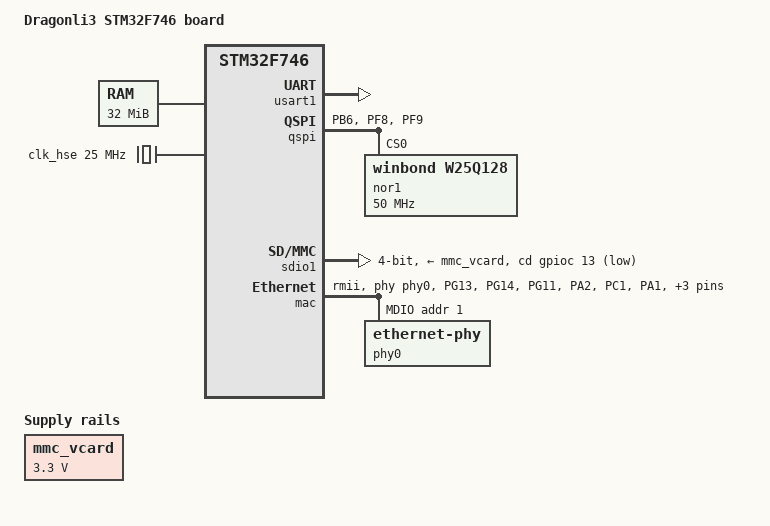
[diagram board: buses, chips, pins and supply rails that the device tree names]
/*
 * Copyright 2023 - JasonJ <jasonj@live.cn>
 *
 * This file is dual-licensed: you can use it either under the terms
 * of the GPL or the X11 license, at your option. Note that this dual
 * licensing only applies to this file, and not this project as a
 * whole.
 *
 *  a) This file is free software; you can redistribute it and/or
 *     modify it under the terms of the GNU General Public License as
 *     published by the Free Software Foundation; either version 2 of the
 *     License, or (at your option) any later version.
 *
 *     This file is distributed in the hope that it will be useful,
 *     but WITHOUT ANY WARRANTY; without even the implied warranty of
 *     MERCHANTABILITY or FITNESS FOR A PARTICULAR PURPOSE.  See the
 *     GNU General Public License for more details.
 *
 * Or, alternatively,
 *
 *  b) Permission is hereby granted, free of charge, to any person
 *     obtaining a copy of this software and associated documentation
 *     files (the "Software"), to deal in the Software without
 *     restriction, including without limitation the rights to use,
 *     copy, modify, merge, publish, distribute, sublicense, and/or
 *     sell copies of the Software, and to permit persons to whom the
 *     Software is furnished to do so, subject to the following
 *     conditions:
 *
 *     The above copyright notice and this permission notice shall be
 *     included in all copies or substantial portions of the Software.
 *
 *     THE SOFTWARE IS PROVIDED "AS IS", WITHOUT WARRANTY OF ANY KIND,
 *     EXPRESS OR IMPLIED, INCLUDING BUT NOT LIMITED TO THE WARRANTIES
 *     OF MERCHANTABILITY, FITNESS FOR A PARTICULAR PURPOSE AND
 *     NONINFRINGEMENT. IN NO EVENT SHALL THE AUTHORS OR COPYRIGHT
 *     HOLDERS BE LIABLE FOR ANY CLAIM, DAMAGES OR OTHER LIABILITY,
 *     WHETHER IN AN ACTION OF CONTRACT, TORT OR OTHERWISE, ARISING
 *     FROM, OUT OF OR IN CONNECTION WITH THE SOFTWARE OR THE USE OR
 *     OTHER DEALINGS IN THE SOFTWARE.
 */

/dts-v1/;
#include "stm32f746.dtsi"
#include "stm32f746-pinctrl.dtsi"
#include <dt-bindings/input/input.h>
#include <dt-bindings/gpio/gpio.h>

/ {
	model = "Dragonli3 STM32F746 board";
	compatible = "st, dragonli3", "st,stm32f746";

	chosen {
		bootargs = "console=ttyS0,115200 earlyprintk consoleblank=0 ignore_loglevel";
		stdout-path = "serial0:115200n8";
	};

	memory@c0000000 {
		device_type = "memory";
		reg = <0xC0000000 0x2000000>;
	};

	reserved-memory {
		#address-cells = <1>;
		#size-cells = <1>;
		ranges;

		linux,cma {
			compatible = "shared-dma-pool";
			no-map;
			size = <0x100000>;
			linux,dma-default;
		};
	};

	aliases {
		gpio0   = &gpioa;
		gpio1   = &gpiob;
		gpio2   = &gpioc;
		gpio3   = &gpiod;
		gpio4   = &gpioe;
		gpio5   = &gpiof;
		gpio6   = &gpiog;
		gpio7   = &gpioh;
		gpio8   = &gpioi;
		gpio9   = &gpioj;
		gpio10  = &gpiok;
		serial0 = &usart1;
		mmc0    = &sdio1;
		spi0    = &qspi;
	};

	mmc_vcard: mmc_vcard {
		compatible = "regulator-fixed";
		regulator-name = "mmc_vcard";
		regulator-min-microvolt = <3300000>;
		regulator-max-microvolt = <3300000>;
	};
};

&pinctrl {
	ethernet_mii: mii@0 {
		pins {
			pinmux = 
			     <STM32_PINMUX('G',13, AF11)>, /* ETH_RMII_TXD0 */
				 <STM32_PINMUX('G',14, AF11)>, /* ETH_RMII_TXD1 */
				 <STM32_PINMUX('G',11, AF11)>, /* ETH_RMII_TX_EN */
				 <STM32_PINMUX('A', 2, AF11)>, /* ETH_MDIO */
				 <STM32_PINMUX('C', 1, AF11)>, /* ETH_MDC */
				 <STM32_PINMUX('A', 1, AF11)>, /* ETH_RMII_REF_CLK */
				 <STM32_PINMUX('A', 7, AF11)>, /* ETH_RMII_CRS_DV */
				 <STM32_PINMUX('C', 4, AF11)>, /* ETH_RMII_RXD0 */
				 <STM32_PINMUX('C', 5, AF11)>; /* ETH_RMII_RXD1 */
			slew-rate = <2>;
		};
	};

	fmc_pins: fmc@0 {
		pins {
			pinmux = 
				 <STM32_PINMUX('D',10, AF12)>, /* D15 */
				 <STM32_PINMUX('D', 9, AF12)>, /* D14 */
				 <STM32_PINMUX('D', 8, AF12)>, /* D13 */
				 <STM32_PINMUX('E',15, AF12)>, /* D12 */
				 <STM32_PINMUX('E',14, AF12)>, /* D11 */
				 <STM32_PINMUX('E',13, AF12)>, /* D10 */
				 <STM32_PINMUX('E',12, AF12)>, /* D9 */
				 <STM32_PINMUX('E',11, AF12)>, /* D8 */
				 <STM32_PINMUX('E',10, AF12)>, /* D7 */
				 <STM32_PINMUX('E', 9, AF12)>, /* D6 */
				 <STM32_PINMUX('E', 8, AF12)>, /* D5 */
				 <STM32_PINMUX('E', 7, AF12)>, /* D4 */
				 <STM32_PINMUX('D', 1, AF12)>, /* D3 */
				 <STM32_PINMUX('D', 0, AF12)>, /* D2 */
				 <STM32_PINMUX('D',15, AF12)>, /* D1 */
				 <STM32_PINMUX('D',14, AF12)>, /* D0 */

				 <STM32_PINMUX('E', 1, AF12)>, /* NBL1 */
				 <STM32_PINMUX('E', 0, AF12)>, /* NBL0 */

				 <STM32_PINMUX('G', 5, AF12)>, /* BA1 */
				 <STM32_PINMUX('G', 4, AF12)>, /* BA0 */
 				 
				 <STM32_PINMUX('G', 2, AF12)>, /* A12 */
				 <STM32_PINMUX('G', 1, AF12)>, /* A11 */
				 <STM32_PINMUX('G', 0, AF12)>, /* A10 */
				 <STM32_PINMUX('F',15, AF12)>, /* A9 */
				 <STM32_PINMUX('F',14, AF12)>, /* A8 */
				 <STM32_PINMUX('F',13, AF12)>, /* A7 */
				 <STM32_PINMUX('F',12, AF12)>, /* A6 */
				 <STM32_PINMUX('F', 5, AF12)>, /* A5 */
				 <STM32_PINMUX('F', 4, AF12)>, /* A4 */
				 <STM32_PINMUX('F', 3, AF12)>, /* A3 */
				 <STM32_PINMUX('F', 2, AF12)>, /* A2 */
				 <STM32_PINMUX('F', 1, AF12)>, /* A1 */
				 <STM32_PINMUX('F', 0, AF12)>, /* A0 */

				 <STM32_PINMUX('H', 3, AF12)>, /* SDNE0 */
				 <STM32_PINMUX('F',11, AF12)>, /* SDNRAS */
				 <STM32_PINMUX('G',15, AF12)>, /* SDNCAS */
				 <STM32_PINMUX('H', 5, AF12)>, /* SDNWE */
				 <STM32_PINMUX('H', 2, AF12)>, /* SDCKE0 */
				 <STM32_PINMUX('G', 8, AF12)>; /* SDCLK> */
			slew-rate = <2>;
		};
	};

	ltdc_pins: ltdc@0 {
		pins {
			pinmux = 
				 <STM32_PINMUX('J', 2, AF14)>, /* R3 */
				 <STM32_PINMUX('J', 3, AF14)>, /* R4 */
				 <STM32_PINMUX('J', 4, AF14)>, /* R5 */
				 <STM32_PINMUX('J', 5, AF14)>, /* R6 */
				 <STM32_PINMUX('J', 6, AF14)>, /* R7 */
				 <STM32_PINMUX('J', 9, AF14)>, /* G2 */
				 <STM32_PINMUX('J',10, AF14)>, /* G3 */
				 <STM32_PINMUX('J',11, AF14)>, /* G4 */
				 <STM32_PINMUX('K', 0, AF14)>, /* G5 */
				 <STM32_PINMUX('K', 1, AF14)>, /* G6 */
				 <STM32_PINMUX('K', 2, AF14)>, /* G7 */
				 <STM32_PINMUX('J',15, AF14)>, /* B3 */
				 <STM32_PINMUX('K', 3, AF14)>, /* B4 */
				 <STM32_PINMUX('K', 4, AF14)>, /* B5 */
				 <STM32_PINMUX('K', 5, AF14)>, /* B6 */
				 <STM32_PINMUX('K', 6, AF14)>, /* B7 */
				 <STM32_PINMUX('K', 7, AF14)>, /* DE */
				 <STM32_PINMUX('I',13, AF14)>, /* VSYNC */
				 <STM32_PINMUX('I',12, AF14)>, /* HSYNC */
				 <STM32_PINMUX('I',14, AF14)>; /* CLK */
			slew-rate = <2>;
		};
	};

	qspi_pins: qspi@0 {
		pins {
			pinmux = 
				 <STM32_PINMUX('B', 2, AF9 )>, /* CLK */
				 <STM32_PINMUX('B', 6, AF10)>, /* BK1_NCS */
				 <STM32_PINMUX('F', 8, AF10)>, /* BK1_IO0 */
				 <STM32_PINMUX('F', 9, AF10)>, /* BK1_IO1 */
				 <STM32_PINMUX('F', 7, AF9 )>, /* BK1_IO3 */
				 <STM32_PINMUX('F', 6, AF9 )>; /* BK1_IO2 */
			slew-rate = <2>;
		};
	};

	usart1_pins_a: usart1-0	{
		u-boot,dm-pre-reloc;
		pins1 {
			u-boot,dm-pre-reloc;
		};
		pins2 {
			u-boot,dm-pre-reloc;
		};
	};
};

&clk_hse {
	clock-frequency = <25000000>;
};

&usart1 {
	pinctrl-0 = <&usart1_pins_a>;
	pinctrl-names = "default";
	status = "okay";
};

&qspi {
	status = "okay";
	pinctrl-0 = <&qspi_pins>;
	pinctrl-names = "default";
	
	nor1: w25q128@0 {
		#address-cells = <1>;
		#size-cells = <1>;
		compatible = "winbond,w25q128", "jedec,spi-nor";
		spi-max-frequency = <50000000>;
		spi-tx-bus-width = <1>;
		spi-rx-bus-width = <1>;
		reg = <0>;
	};
};

&sdio1 {
	status = "okay";
	vmmc-supply = <&mmc_vcard>;
	cd-gpios = <&gpioc 13 GPIO_ACTIVE_LOW>;
	pinctrl-names = "default", "opendrain";
	pinctrl-0 = <&sdio_pins_a>;
	pinctrl-1 = <&sdio_pins_od_a>;
	bus-width = <4>;
};

&mac {
	status = "okay";
	pinctrl-0 = <&ethernet_mii>;
	pinctrl-names = "default";
	phy-mode = "rmii";
	phy-handle = <&phy0>;

	mdio0 {
		#address-cells = <1>;
		#size-cells = <0>;
		compatible = "snps,dwmac-mdio";
		phy0: ethernet-phy@0 {
			reg = <1>;
		};
	};
};

